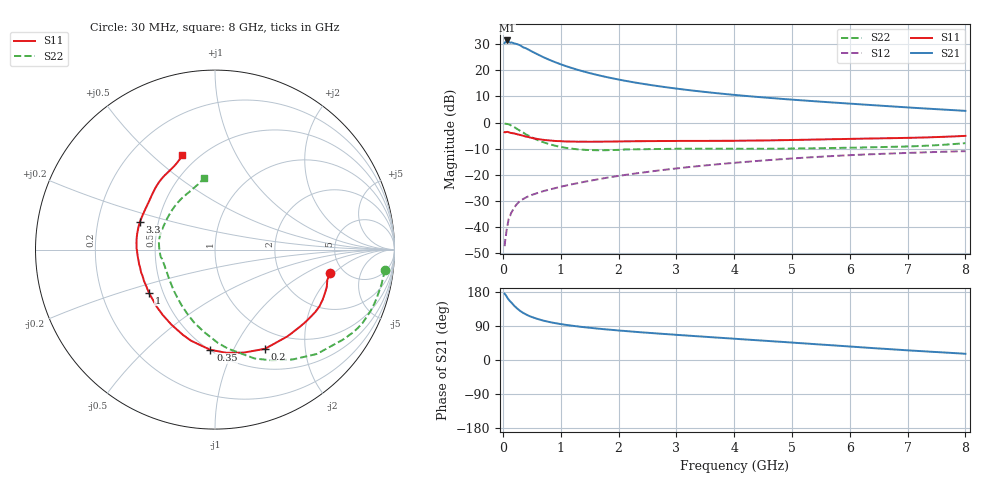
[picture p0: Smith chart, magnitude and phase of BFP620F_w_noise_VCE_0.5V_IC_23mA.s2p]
! Infineon Technologies  Discrete & RF Semiconductors
! BFP620F
! VCE =  0.5 V,  IC =  23 mA
! Common Emitter S-Parameters:  Dec 2014
# GHz  S  MA  R  50
!  f  S11  S21  S12  S22
! GHz  MAG  ANG  MAG  ANG  MAG  ANG  MAG  ANG
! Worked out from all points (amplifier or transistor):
!   95 points, 30 MHz to 8 GHz, reference 50 ohm
!   highest |S21| = 31.4 dB at 70 MHz (marker M1)
!   |S21| within 3 dB of that: start of sweep to 398.9 MHz
!   unconditionally stable (mu >= 1): 2.585 GHz to end of sweep
!   at 300 MHz: K = 0.29, MSG = 29.8 dB, |S12| = -30.0 dB
!   at 3.3 GHz: K = 1.02, MAG = 13.6 dB, |S12| = -16.9 dB
!   at 8 GHz: K = 1.07, MAG = 6.1 dB, |S12| = -11.0 dB
!   lowest NFmin = 0.94 dB at 450 MHz
!   S11 on the Smith chart (normalised r, x): 30 MHz: 3.91, -1.80; 200 MHz: 0.75, -1.34; 350 MHz: 0.50, -0.82; 1 GHz: 0.42, -0.25; 3.3 GHz: 0.39, +0.15; 8 GHz: 0.41, +0.63
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0.03  0.6539 -11.6  33.23 174.8  0.0043 84.9  0.9531 -6.8
0.06  0.6588 -21.7  36.75 168.9  0.008 79.4  0.9437 -14.0
0.07  0.6616 -25.0  37.28 166.2  0.0096 77.1  0.9409 -16.5
0.09  0.6584 -31.8  36.47 161.5  0.0123 80.3  0.932 -21.5
0.12  0.6401 -41.7  34.09 155.9  0.0163 75.1  0.9075 -28.9
0.15  0.6293 -50.4  34.12 151.0  0.0191 71.0  0.8692 -35.5
0.2  0.6188 -63.3  32.68 142.5  0.024 66.2  0.8125 -45.7
0.25  0.5957 -74.5  31.59 135.6  0.0281 63.2  0.7499 -54.7
0.3  0.5779 -83.9  30.04 129.4  0.0318 59.4  0.6938 -62.8
0.35  0.5589 -92.6  27.6 124.4  0.0343 57.5  0.6458 -70.0
0.45  0.5246 -104.8  24.67 116.5  0.0392 54.8  0.5581 -82.3
0.6  0.4837 -120.1  20.23 108.3  0.0448 52.8  0.462 -97.8
0.8  0.455 -135.5  15.94 100.4  0.052 52.7  0.3863 -114.1
1  0.4397 -147.0  13.05 94.8  0.059 53.3  0.3414 -127.6
1.4  0.4307 -163.1  9.479 86.7  0.0731 54.3  0.301 -149.4
2  0.4345 -178.9  6.667 77.9  0.0952 54.0  0.2998 -170.4
2.7  0.4427 168.4  4.955 69.7  0.1211 51.8  0.3117 177.2
3.3  0.4457 159.7  4.072 63.3  0.1434 49.1  0.3156 169.7
4.1  0.4493 149.4  3.309 55.1  0.173 44.3  0.315 159.9
5.4  0.4726 136.0  2.554 41.8  0.2186 35.2  0.322 141.0
6.7  0.5018 122.7  2.047 28.5  0.255 24.8  0.3423 121.2
8  0.556 109.2  1.674 16.4  0.2833 14.8  0.4034 98.5
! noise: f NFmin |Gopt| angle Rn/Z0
0.45  0.94  0.04  2  0.2
0.9  0.98  0.02  6  0.17
1.5  1  0.01  -9  0.15
1.8  1.02  0.01  -17  0.16
1.9  1.02  0  51  0.16
2.4  1.05  0.03  -153  0.15
3.5  1.13  0.06  -161  0.15
5.5  1.28  0.17  234  0.11
6  1.32  0.16  256  0.14
